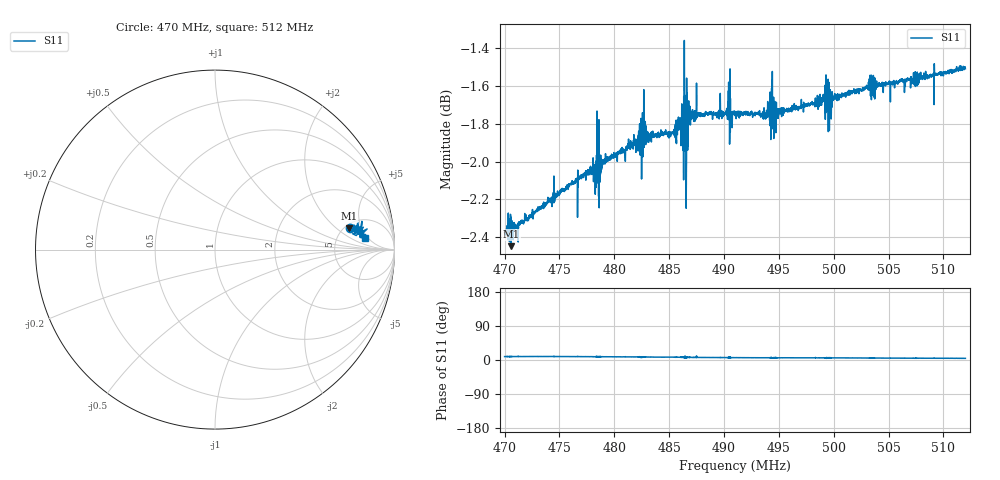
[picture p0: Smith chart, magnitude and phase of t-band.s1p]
! Calibrated averaged scanner-service zoom
# Hz S RI R 50
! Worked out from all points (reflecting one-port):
!   4001 points, 470 MHz to 512 MHz, reference 50 ohm
!   lowest |S11| = -2.4 dB at 470.6 MHz (marker M1), VSWR 7.14, Z = 272 + j151 ohm
!   phase of S11 starts at 9 deg and turns -5 deg over the sweep
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4.7e8  0.7516 0.1189
4.705985e8  0.7449 0.1194
4.7294e8  0.7618 0.1233
4.7525e8  0.7718 0.123
4.805e8  0.7912 0.116
4.82096e8  0.7938 0.1098
4.82726e8  0.8033 0.107
4.850675e8  0.8023 0.1036
4.8575e8  0.8012 0.101
4.86107e8  0.8064 0.0967
4.862015e8  0.7968 0.1016
4.86254e8  0.7966 0.1041
4.863695e8  0.8129 0.1023
4.86569e8  0.7871 0.0786
4.86632e8  0.8199 0.1192
4.866845e8  0.7939 0.0981
4.867895e8  0.808 0.0995
4.869365e8  0.806 0.1011
4.875875e8  0.8113 0.0957
4.91e8  0.8136 0.0889
4.94129e8  0.8135 0.0852
4.94402e8  0.8362 0.0716
4.9625e8  0.8163 0.0837
4.99232e8  0.8106 0.0856
4.997045e8  0.8135 0.0845
5.015e8  0.8248 0.0792
5.0675e8  0.8325 0.0699
5.12e8  0.8382 0.064
